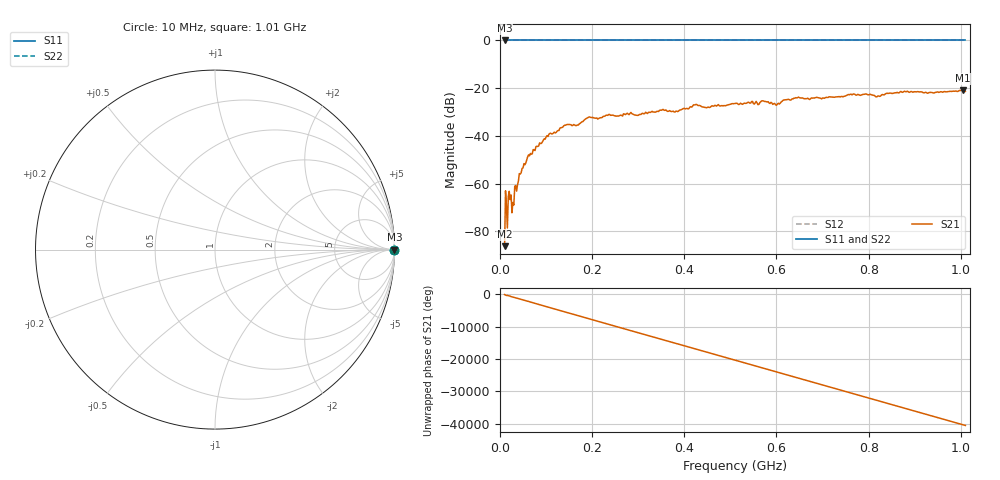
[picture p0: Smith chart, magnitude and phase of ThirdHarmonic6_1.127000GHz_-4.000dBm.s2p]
! 8/16/2025 10:54:34 AM
! C:\ANRITSUVNA\TEMP\TEMP.S2P
! CHANNEL.1
! TR.MEASUREMENT
! RAW.DATA
! RF.CORRECTION.OFF
! AVERAGING.OFF
! IF.BANDWIDTH: 5KHZ
! SWEEPTYPE:  FREQ.SWEEP(Linear)
! Reference Plane Port Info
! PORT:  PORT1  PORT2
! DISTANCE:  0  m  0  m
! TIME:  0  s  0  s
! PHASE.OFFSET:  0  deg.  0  deg.
! LOSS:  0  dB  0  dB
! REF.LOSS:  0  dB  0  dB
! REF.FREQ:  0  Hz  0  Hz
! Power Info
! POWER:  -20  dBm  -20  dBm
! EFF.POWER:  -20  dBm  -20  dBm
! SOURCE.ATTEN:  0  dB  0  dB
! TEST.ATTEN:  0  dB  0  dB
# GHZ S RI R 50.0
! FREQ.GHZ  S11RE  S11IM  S21RE  S21IM  S12RE  S12IM  S22RE  S22IM
!; PortSelection: Port_12
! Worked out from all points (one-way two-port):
!   501 points, 10 MHz to 1.01 GHz, reference 50 ohm
!   highest |S21| = -20.90 dB at 1.004 GHz (marker M1); lowest = -86.3 dB at 10 MHz (marker M2)
!   lowest |S11| = 0.0 dB at 10 MHz (marker M3)
!   |S11| at or under -10 dB: nowhere
!   |S22| runs from 0.0 to 0.0 dB; largest |S21 - S12| = 1.1
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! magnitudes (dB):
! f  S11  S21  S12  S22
! 10 MHz  0.0  -86.3  0.0  0.0
! 12 MHz  0.0  -63.1  0.0  0.0
! 16 MHz  0.0  -78.7  0.0  0.0
! 18 MHz  0.0  -65.5  0.0  0.0
! 22 MHz  0.0  -66.8  0.0  0.0
! 26 MHz  0.0  -72.3  0.0  0.0
! 44 MHz  0.0  -56.0  0.0  0.0
! 62 MHz  0.0  -48.0  0.0  0.0
! 106 MHz  0.0  -39.4  0.0  0.0
! 142 MHz  0.0  -35.5  0.0  0.0
! 178 MHz  0.0  -34.1  0.0  0.0
! 194 MHz  0.0  -32.1  0.0  0.0
! 344 MHz  0.0  -29.8  0.0  0.0
! 424 MHz  0.0  -27.0  0.0  0.0
! 510 MHz  0.0  -26.4  0.0  0.0
! 572 MHz  0.0  -25.4  0.0  0.0
! 602 MHz  0.0  -26.7  0.0  0.0
! 644 MHz  0.0  -24.1  0.0  0.0
! 678 MHz  0.0  -24.2  0.0  0.0
! 844 MHz  0.0  -22.2  0.0  0.0
! 1.004 GHz  0.0  -20.9  0.0  0.0
! 1.01 GHz  0.0  -21.3  0.0  0.0
